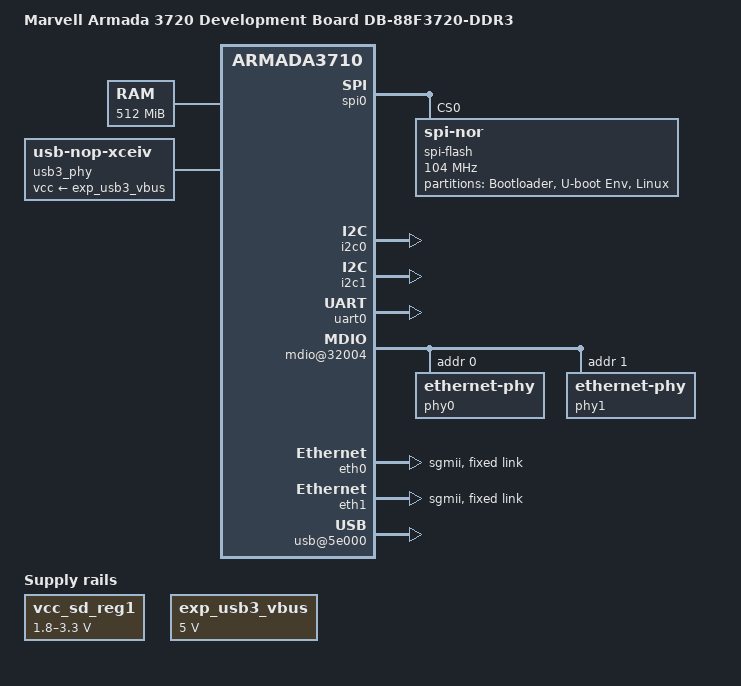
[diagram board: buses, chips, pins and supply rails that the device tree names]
/*
 * Device Tree file for Marvell Armada 3720 development board
 * (DB-88F3720-DDR3)
 * Copyright (C) 2016 Marvell
 *
 * Gregory CLEMENT <gregory.clement@free-electrons.com>
 *
 * This file is dual-licensed: you can use it either under the terms
 * of the GPL or the X11 license, at your option. Note that this dual
 * licensing only applies to this file, and not this project as a
 * whole.
 *
 *  a) This file is free software; you can redistribute it and/or
 *     modify it under the terms of the GNU General Public License as
 *     published by the Free Software Foundation; either version 2 of the
 *     License, or (at your option) any later version.
 *
 *     This file is distributed in the hope that it will be useful
 *     but WITHOUT ANY WARRANTY; without even the implied warranty of
 *     MERCHANTABILITY or FITNESS FOR A PARTICULAR PURPOSE.  See the
 *     GNU General Public License for more details.
 *
 * Or, alternatively
 *
 *  b) Permission is hereby granted, free of charge, to any person
 *     obtaining a copy of this software and associated documentation
 *     files (the "Software"), to deal in the Software without
 *     restriction, including without limitation the rights to use
 *     copy, modify, merge, publish, distribute, sublicense, and/or
 *     sell copies of the Software, and to permit persons to whom the
 *     Software is furnished to do so, subject to the following
 *     conditions:
 *
 *     The above copyright notice and this permission notice shall be
 *     included in all copies or substantial portions of the Software.
 *
 *     THE SOFTWARE IS PROVIDED , WITHOUT WARRANTY OF ANY KIND
 *     EXPRESS OR IMPLIED, INCLUDING BUT NOT LIMITED TO THE WARRANTIES
 *     OF MERCHANTABILITY, FITNESS FOR A PARTICULAR PURPOSE AND
 *     NONINFRINGEMENT. IN NO EVENT SHALL THE AUTHORS OR COPYRIGHT
 *     HOLDERS BE LIABLE FOR ANY CLAIM, DAMAGES OR OTHER LIABILITY
 *     WHETHER IN AN ACTION OF CONTRACT, TORT OR OTHERWISE, ARISING
 *     FROM, OUT OF OR IN CONNECTION WITH THE SOFTWARE OR THE USE OR
 *     OTHER DEALINGS IN THE SOFTWARE.
 */

/dts-v1/;

#include "armada-372x.dtsi"

/ {
	model = "Marvell Armada 3720 Development Board DB-88F3720-DDR3";
	compatible = "marvell,armada-3720-db", "marvell,armada3720", "marvell,armada3710";

	chosen {
		stdout-path = "serial0:115200n8";
	};

	memory {
		device_type = "memory";
		reg = <0x00000000 0x00000000 0x00000000 0x20000000>;
	};

	soc {
		internal-regs {
			spi0: spi@10600 {
				status = "okay";

				spi-flash@0 {
					#address-cells = <1>;
					#size-cells = <1>;
					compatible = "jedec,spi-nor";
					reg = <0>; /* Chip select 0 */
					spi-max-frequency = <104000000>;
					m25p,fast-read;

					pinctrl-names = "default";
					pinctrl-0 = <&spi0_pins &spi_quad_pins>;

					partition@0 {
						label = "Bootloader";
						reg = <0 0x200000>;
					};
					partition@200000 {
						label = "U-boot Env";
						reg = <0x200000 0x10000>;
					};
					partition@210000 {
						label = "Linux";
						reg = <0x210000 0xDF0000>;
					};
				};
			};

			i2c0: i2c@11000 {
				status = "okay";
			};

			i2c1: i2c@11080 {
				status = "okay";
			};

			/*
			* Exported on the micro USB connector CON32
			* through an FTDI
			*/
			uart0: serial@12000 {
				status = "okay";
			};


			u3d@50000 {
				status = "disabled";
			};

			udc@54100 {
				status = "disabled";
			};

                        mdio@32004 {
                                phy0: ethernet-phy@0 {
                                        reg = <0>;
                                };
                                phy1: ethernet-phy@1 {
                                        reg = <1>;
                                };
                        };

                        eth0: ethernet@30000 {
                                phy-mode = "sgmii";
                                status = "okay";
        			fixed-link {
                			speed = <1000>;
                			full-duplex;
        			};
                        };

			eth1: ethernet@40000 {
				phy-mode = "sgmii";
				status = "okay";
        			fixed-link {
                			speed = <1000>;
                			full-duplex;
			        };
			};

			/* CON31 */
			usb3@58000 {
				status = "disabled";
				usb-phy = <&usb3_phy>;
			};

			usb@5e000 {
				status = "okay";
			};

			interrupt-controller@74840 {
				status = "okay";
			};

			vcc_sd_reg1: regulator@0 {
				compatible = "regulator-gpio";
				regulator-name = "vcc_sd1";
				regulator-min-microvolt = <1800000>;
				regulator-max-microvolt = <3300000>;
				regulator-boot-on;

				gpios = <&gpio_sb 23 GPIO_ACTIVE_HIGH>;
				gpios-states = <0>;
				states = <1800000 0x1
					  3300000 0x0>;

				enable-active-high;
			};
		};

	};

	usb3_phy: usb3-phy {
		compatible = "usb-nop-xceiv";
		vcc-supply = <&exp_usb3_vbus>;
	};

	exp_usb3_vbus: usb3-vbus {
		compatible = "regulator-fixed";
		regulator-name = "usb3-vbus";
		regulator-min-microvolt = <5000000>;
		regulator-max-microvolt = <5000000>;
		enable-active-high;
		regulator-always-on;
	};
};

